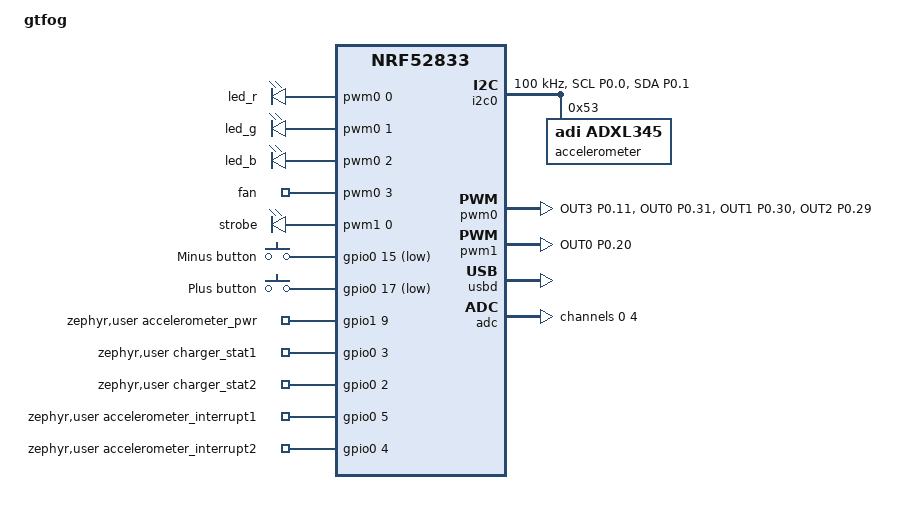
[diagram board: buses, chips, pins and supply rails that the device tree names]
// Copyright (c) 2024 Nordic Semiconductor ASA
// SPDX-License-Identifier: Apache-2.0

/dts-v1/;
#include <nordic/nrf52833_qiaa.dtsi>


/ {
	model = "gtfog";
	compatible = "agh,gtfog";

	chosen {
		zephyr,sram = &sram0;
		zephyr,flash = &flash0;
		zephyr,code-partition = &slot0_partition;
	};

	pwmleds {
		compatible = "pwm-leds";
		led_r: led_r {
			pwms = <&pwm0 0 PWM_MSEC(1) PWM_POLARITY_INVERTED>;
		};

		led_g: led_g {
			pwms = <&pwm0 1 PWM_MSEC(1) PWM_POLARITY_INVERTED>;
		};

		led_b: led_b {
			pwms = <&pwm0 2 PWM_MSEC(1) PWM_POLARITY_INVERTED>;
		};

		fan: fan_control {
			pwms = <&pwm0 3 PWM_MSEC(5) PWM_POLARITY_NORMAL>;
		};

		strobe: led_strobe {
			pwms = <&pwm1 0 PWM_MSEC(1) PWM_POLARITY_NORMAL>;
		};
	};



	buttons {
		compatible = "gpio-keys";
		button_minus: button0 {
			label = "Minus button";
			gpios = <&gpio0 15 (GPIO_ACTIVE_LOW | GPIO_PULL_UP)>;
		};

		button_plus: button1{
			label = "Plus button";
			gpios = <&gpio0 17 (GPIO_ACTIVE_LOW | GPIO_PULL_UP)>;
		};
	};

	zephyr,user {
		accelerometer_pwr-gpios = <&gpio1 9 0>;
		charger_stat1-gpios = <&gpio0 3 GPIO_PULL_UP>;
		charger_stat2-gpios = <&gpio0 2 GPIO_PULL_UP>;
		accelerometer_interrupt1-gpios = <&gpio0 5 0>;
		accelerometer_interrupt2-gpios = <&gpio0 4 0>;
	};
};


&gpiote {
	status = "okay";
};

&gpio0 {
	status = "okay";
};


&gpio1 {
	status = "okay";
};



&flash0 {
	partitions {
		compatible = "fixed-partitions";
		#address-cells = <1>;
		#size-cells = <1>;

		boot_partition: partition@0 {
			label = "mcuboot";
			reg = <0x0 0xc000>;
		};
		slot0_partition: partition@c000 {
			label = "image-0";
			reg = <0xc000 0x32000>;
		};
		slot1_partition: partition@3e000 {
			label = "image-1";
			reg = <0x3e000 0x32000>;
		};
		scratch_partition: partition@70000 {
			label = "image-scratch";
			reg = <0x70000 0xa000>;
		};
		storage_partition: partition@7a000 {
			label = "storage";
			reg = <0x7a000 0x6000>;
		};
	};
};



&i2c0 {
	status = "okay";
	clock-frequency = <I2C_BITRATE_STANDARD>;
	pinctrl-0 = <&i2c0_default>;
	pinctrl-1 = <&i2c0_sleep>;
	pinctrl-names = "default", "sleep";
	accelerometer: adxl345@53 {
		compatible = "adi,adxl345";
		reg = <0x53>;
		status = "okay";
		// supply-gpios = <&gpio1 9 0>;
		// zephyr,deferred-init;
	};
};



&pwm0 {
	status = "okay";
	pinctrl-0 = <&pwm0_default>;
	pinctrl-1 = <&pwm0_sleep>;
	pinctrl-names = "default", "sleep";
};


&pwm1 {
	status = "okay";
	pinctrl-0 = <&pwm1_default>;
	pinctrl-1 = <&pwm1_sleep>;
	pinctrl-names = "default", "sleep";
};


&usbd {
	status = "okay";
};


&adc {
	status = "okay";
	io-channels = <&adc 0>, <&adc 4>;
	io-channel-names = "vdd", "vbat";

	status = "okay";
	#address-cells = <1>;
	#size-cells = <0>;
	channel@0 {
		reg = <0>;
		zephyr,gain = "ADC_GAIN_1_2";
		zephyr,reference = "ADC_REF_INTERNAL";
		zephyr,acquisition-time = <ADC_ACQ_TIME_DEFAULT>;
		zephyr,input-positive = <NRF_SAADC_VDDHDIV5>; /* P0.30 */
		zephyr,resolution = <12>;
	};
	
	channel@4 {
		reg = <4>;
		zephyr,gain = "ADC_GAIN_1_6";
		zephyr,reference = "ADC_REF_INTERNAL";
		zephyr,acquisition-time = <ADC_ACQ_TIME_DEFAULT>;
		zephyr,input-positive = <NRF_SAADC_AIN4>; /* P0.28 */
		
		zephyr,resolution = <12>;
	};
};





&pinctrl {
	pwm0_default: pwm0_default {
		group1 {
			psels = <NRF_PSEL(PWM_OUT3, 0, 11)>;
		};

		group2 {
			psels = <NRF_PSEL(PWM_OUT0, 0, 31)>,
			        <NRF_PSEL(PWM_OUT1, 0, 30)>,
			        <NRF_PSEL(PWM_OUT2, 0, 29)>;
			nordic,invert;
		};
	};

	pwm0_sleep: pwm0_sleep {
		group1 {
			psels = <NRF_PSEL(PWM_OUT0, 0, 31)>,
			        <NRF_PSEL(PWM_OUT1, 0, 30)>,
			        <NRF_PSEL(PWM_OUT2, 0, 29)>,
			        <NRF_PSEL(PWM_OUT3, 0, 11)>;
			low-power-enable;

		};
	};

	i2c0_default: i2c0_default {

		group2 {
			psels = <NRF_PSEL(TWIM_SCL, 0, 0)>, <NRF_PSEL(TWIM_SDA, 0, 1)>;
			bias-pull-up;

		};
	};
	i2c0_sleep: i2c0_sleep {
		group1 {
			psels = <NRF_PSEL(TWIM_SCL, 0, 0)>, <NRF_PSEL(TWIM_SDA, 0, 1)>;
			bias-pull-up;
			low-power-enable;
		};
	};

	pwm1_default: pwm1_default {
		group1 {
			psels = <NRF_PSEL(PWM_OUT0, 0, 20)>;
		};
	};

	pwm1_sleep: pwm1_sleep {
		group1 {
			psels = <NRF_PSEL(PWM_OUT0, 0, 20)>;
			low-power-enable;
		};
	};
};

